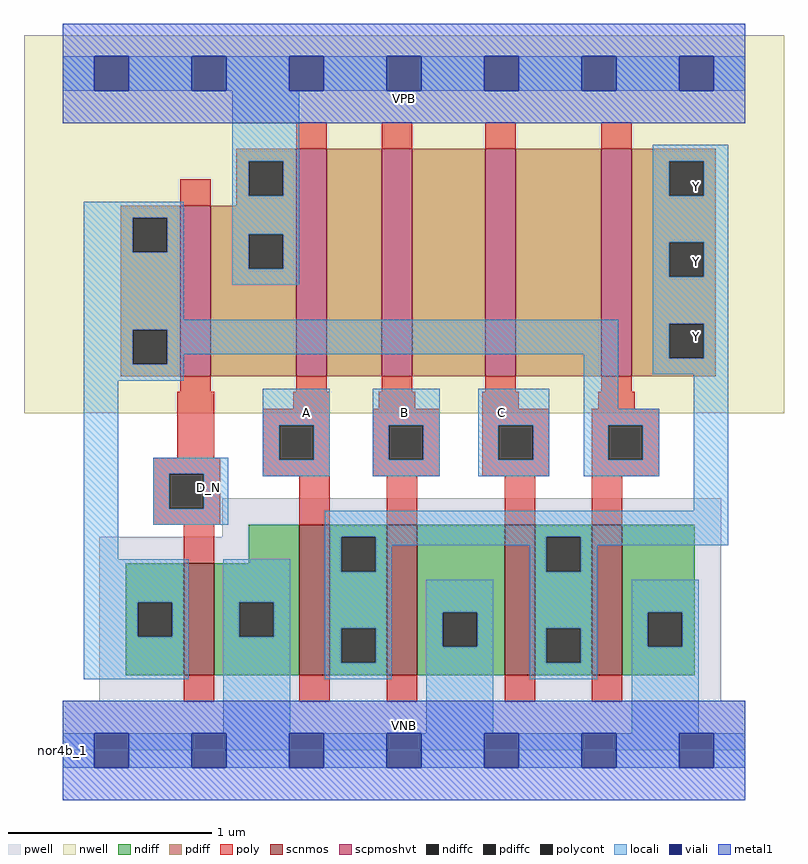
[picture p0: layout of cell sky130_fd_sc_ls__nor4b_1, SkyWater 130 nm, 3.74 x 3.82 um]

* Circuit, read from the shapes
.subckt sky130_fd_sc_ls__nor4b_1 A B C D_N VGND VNB VPB VPWR Y
XM1 VGND D_N n1 VNB sky130_fd_pr__nfet_01v8 w=0.55 l=0.15
XM2 Y A VGND VNB sky130_fd_pr__nfet_01v8 w=0.74 l=0.15
XM3 VGND B Y VNB sky130_fd_pr__nfet_01v8 w=0.74 l=0.15
XM4 Y C VGND VNB sky130_fd_pr__nfet_01v8 w=0.74 l=0.15
XM5 VGND n1 Y VNB sky130_fd_pr__nfet_01v8 w=0.74 l=0.15
XM6 VPWR D_N n1 VPB sky130_fd_pr__pfet_01v8_hvt w=0.84 l=0.15
XM7 n2 A VPWR VPB sky130_fd_pr__pfet_01v8_hvt w=1.12 l=0.15
XM8 n3 B n2 VPB sky130_fd_pr__pfet_01v8_hvt w=1.12 l=0.15
XM9 n4 C n3 VPB sky130_fd_pr__pfet_01v8_hvt w=1.12 l=0.15
XM10 Y n1 n4 VPB sky130_fd_pr__pfet_01v8_hvt w=1.12 l=0.15
.ends

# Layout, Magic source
magic
tech sky130A
magscale 1 2
<< nwell >>
rect -38 332 710 704
<< pwell >>
rect 157 210 648 248
rect 36 49 648 210
rect 0 0 672 49
<< scnmos >>
rect 119 74 149 184
rect 233 74 263 222
rect 319 74 349 222
rect 435 74 465 222
rect 521 74 551 222
<< scpmoshvt >>
rect 116 368 146 536
rect 230 368 260 592
rect 314 368 344 592
rect 416 368 446 592
rect 530 368 560 592
<< ndiff >>
rect 183 184 233 222
rect 62 146 119 184
rect 62 112 74 146
rect 108 112 119 146
rect 62 74 119 112
rect 149 146 233 184
rect 149 112 174 146
rect 208 112 233 146
rect 149 74 233 112
rect 263 210 319 222
rect 263 176 274 210
rect 308 176 319 210
rect 263 120 319 176
rect 263 86 274 120
rect 308 86 319 120
rect 263 74 319 86
rect 349 136 435 222
rect 349 102 374 136
rect 408 102 435 136
rect 349 74 435 102
rect 465 210 521 222
rect 465 176 476 210
rect 510 176 521 210
rect 465 120 521 176
rect 465 86 476 120
rect 510 86 521 120
rect 465 74 521 86
rect 551 136 622 222
rect 551 102 576 136
rect 610 102 622 136
rect 551 74 622 102
<< pdiff >>
rect 171 580 230 592
rect 171 546 183 580
rect 217 546 230 580
rect 171 536 230 546
rect 57 524 116 536
rect 57 490 69 524
rect 103 490 116 524
rect 57 414 116 490
rect 57 380 69 414
rect 103 380 116 414
rect 57 368 116 380
rect 146 508 230 536
rect 146 474 183 508
rect 217 474 230 508
rect 146 368 230 474
rect 260 368 314 592
rect 344 368 416 592
rect 446 368 530 592
rect 560 580 643 592
rect 560 546 597 580
rect 631 546 643 580
rect 560 500 643 546
rect 560 466 597 500
rect 631 466 643 500
rect 560 420 643 466
rect 560 386 597 420
rect 631 386 643 420
rect 560 368 643 386
<< ndiffc >>
rect 74 112 108 146
rect 174 112 208 146
rect 274 176 308 210
rect 274 86 308 120
rect 374 102 408 136
rect 476 176 510 210
rect 476 86 510 120
rect 576 102 610 136
<< pdiffc >>
rect 183 546 217 580
rect 69 490 103 524
rect 69 380 103 414
rect 183 474 217 508
rect 597 546 631 580
rect 597 466 631 500
rect 597 386 631 420
<< poly >>
rect 230 592 260 618
rect 314 592 344 618
rect 416 592 446 618
rect 530 592 560 618
rect 116 536 146 562
rect 116 353 146 368
rect 230 353 260 368
rect 314 353 344 368
rect 416 353 446 368
rect 530 353 560 368
rect 113 288 149 353
rect 227 336 263 353
rect 311 336 347 353
rect 413 336 449 353
rect 527 336 563 353
rect 197 320 263 336
rect 89 272 155 288
rect 89 238 105 272
rect 139 238 155 272
rect 197 286 213 320
rect 247 286 263 320
rect 197 270 263 286
rect 305 320 371 336
rect 305 286 321 320
rect 355 286 371 320
rect 305 270 371 286
rect 413 320 479 336
rect 413 286 429 320
rect 463 286 479 320
rect 413 270 479 286
rect 521 320 587 336
rect 521 286 537 320
rect 571 286 587 320
rect 521 270 587 286
rect 89 222 155 238
rect 233 222 263 270
rect 319 222 349 270
rect 435 222 465 270
rect 521 222 551 270
rect 119 184 149 222
rect 119 48 149 74
rect 233 48 263 74
rect 319 48 349 74
rect 435 48 465 74
rect 521 48 551 74
<< polycont >>
rect 105 238 139 272
rect 213 286 247 320
rect 321 286 355 320
rect 429 286 463 320
rect 537 286 571 320
<< locali >>
rect 0 649 31 683
rect 65 649 127 683
rect 161 649 223 683
rect 257 649 319 683
rect 353 649 415 683
rect 449 649 511 683
rect 545 649 607 683
rect 641 649 672 683
rect 167 580 233 649
rect 167 546 183 580
rect 217 546 233 580
rect 21 524 119 540
rect 21 490 69 524
rect 103 490 119 524
rect 21 424 119 490
rect 167 508 233 546
rect 167 474 183 508
rect 217 474 233 508
rect 167 458 233 474
rect 581 580 655 596
rect 581 546 597 580
rect 631 546 655 580
rect 581 500 655 546
rect 581 466 597 500
rect 631 466 655 500
rect 21 414 547 424
rect 21 380 69 414
rect 103 390 547 414
rect 103 380 119 390
rect 21 364 119 380
rect 21 188 55 364
rect 197 320 263 356
rect 89 272 163 288
rect 89 238 105 272
rect 139 238 163 272
rect 197 286 213 320
rect 247 286 263 320
rect 197 270 263 286
rect 305 320 371 356
rect 305 286 321 320
rect 355 286 371 320
rect 305 270 371 286
rect 409 320 479 356
rect 409 286 429 320
rect 463 286 479 320
rect 409 270 479 286
rect 513 336 547 390
rect 581 420 655 466
rect 581 386 597 420
rect 631 386 655 420
rect 581 370 655 386
rect 513 320 587 336
rect 513 286 537 320
rect 571 286 587 320
rect 513 270 587 286
rect 89 222 163 238
rect 621 236 655 370
rect 258 210 655 236
rect 21 146 124 188
rect 21 112 74 146
rect 108 112 124 146
rect 21 70 124 112
rect 158 146 224 188
rect 158 112 174 146
rect 208 112 224 146
rect 158 17 224 112
rect 258 176 274 210
rect 308 202 476 210
rect 308 176 324 202
rect 258 120 324 176
rect 460 176 476 202
rect 510 202 655 210
rect 510 176 526 202
rect 258 86 274 120
rect 308 86 324 120
rect 258 70 324 86
rect 358 136 424 168
rect 358 102 374 136
rect 408 102 424 136
rect 358 17 424 102
rect 460 120 526 176
rect 460 86 476 120
rect 510 86 526 120
rect 460 70 526 86
rect 560 136 626 168
rect 560 102 576 136
rect 610 102 626 136
rect 560 17 626 102
rect 0 -17 31 17
rect 65 -17 127 17
rect 161 -17 223 17
rect 257 -17 319 17
rect 353 -17 415 17
rect 449 -17 511 17
rect 545 -17 607 17
rect 641 -17 672 17
<< viali >>
rect 31 649 65 683
rect 127 649 161 683
rect 223 649 257 683
rect 319 649 353 683
rect 415 649 449 683
rect 511 649 545 683
rect 607 649 641 683
rect 31 -17 65 17
rect 127 -17 161 17
rect 223 -17 257 17
rect 319 -17 353 17
rect 415 -17 449 17
rect 511 -17 545 17
rect 607 -17 641 17
<< metal1 >>
rect 0 683 672 715
rect 0 649 31 683
rect 65 649 127 683
rect 161 649 223 683
rect 257 649 319 683
rect 353 649 415 683
rect 449 649 511 683
rect 545 649 607 683
rect 641 649 672 683
rect 0 617 672 649
rect 0 17 672 49
rect 0 -17 31 17
rect 65 -17 127 17
rect 161 -17 223 17
rect 257 -17 319 17
rect 353 -17 415 17
rect 449 -17 511 17
rect 545 -17 607 17
rect 641 -17 672 17
rect 0 -49 672 -17
<< labels >>
rlabel comment s 0 0 0 0 4 nor4b_1
flabel pwell s 0 0 672 49 0 FreeSans 200 0 0 0 VNB
port 6 nsew ground bidirectional
flabel nwell s 0 617 672 666 0 FreeSans 200 0 0 0 VPB
port 7 nsew power bidirectional
flabel metal1 s 0 617 672 666 0 FreeSans 340 0 0 0 VPWR
port 8 nsew power bidirectional abutment
flabel metal1 s 0 0 672 49 0 FreeSans 340 0 0 0 VGND
port 5 nsew ground bidirectional abutment
flabel locali s 607 390 641 424 0 FreeSans 340 0 0 0 Y
port 9 nsew signal output
flabel locali s 607 464 641 498 0 FreeSans 340 0 0 0 Y
port 9 nsew signal output
flabel locali s 607 538 641 572 0 FreeSans 340 0 0 0 Y
port 9 nsew signal output
flabel locali s 127 242 161 276 0 FreeSans 340 0 0 0 D_N
port 4 nsew signal input
flabel locali s 223 316 257 350 0 FreeSans 340 0 0 0 A
port 1 nsew signal input
flabel locali s 319 316 353 350 0 FreeSans 340 0 0 0 B
port 2 nsew signal input
flabel locali s 415 316 449 350 0 FreeSans 340 0 0 0 C
port 3 nsew signal input
<< properties >>
string LEFsite unit
string LEFclass CORE
string FIXED_BBOX 0 0 672 666
string GDS_FILE $PDKPATH/libs.ref/sky130_fd_sc_ls/gds/sky130_fd_sc_ls.gds
string LEFsymmetry X Y
string GDS_END 1159012
string GDS_START 1153010
<< end >>
